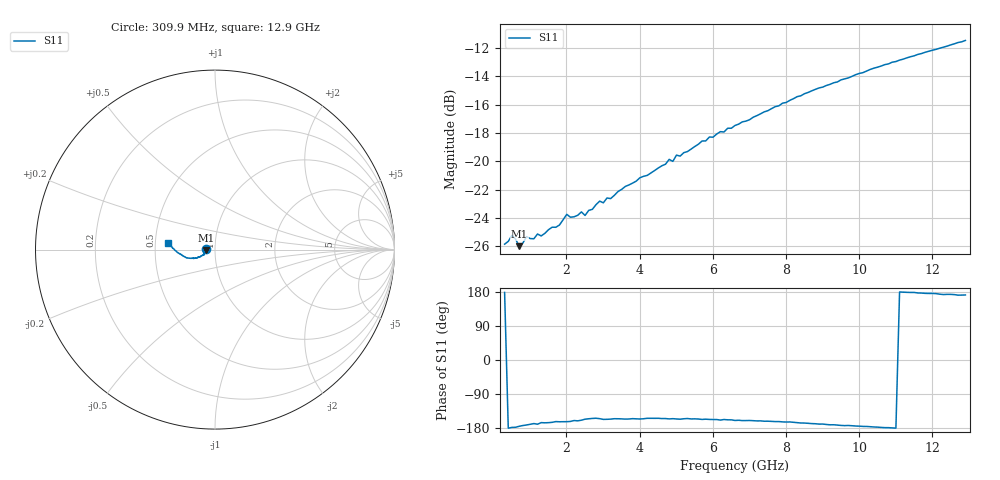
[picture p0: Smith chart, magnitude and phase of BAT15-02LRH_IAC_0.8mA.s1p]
! Infineon Technologies  Discrete & RF Semiconductors
! BAT15-02LRH
! IAC = 0.8 mA
! One-Port S-Parameters
# Hz  S  MA  R  50
!f  S11
!Hz  Mag  Ang
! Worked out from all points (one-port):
!   127 points, 309.9 MHz to 12.9 GHz, reference 50 ohm
!   lowest |S11| = -26.0 dB at 709.6 MHz (marker M1), VSWR 1.11, Z = 45.2 - j0.405 ohm
!   |S11| at or under -10 dB: start of sweep to end of sweep
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3.0985e8  0.05104 178.3
5.0975e8  0.05484 -177.9
7.0965e8  0.05021 -174.9
9.0955e8  0.05425 -171.5
1.10945e9  0.05332 -167.8
1.2094e9  0.05543 -169.5
1.30935e9  0.05457 -165.3
1.6092e9  0.05858 -164.5
1.8091e9  0.05964 -163.0
1.90905e9  0.06225 -162.8
2.009e9  0.06504 -162.7
2.2089e9  0.06376 -159.8
2.4088e9  0.06634 -158.9
2.50875e9  0.06445 -156.2
2.90855e9  0.07241 -154.8
3.0085e9  0.07143 -156.7
3.50825e9  0.07965 -155.4
4.70765e9  0.09777 -154.5
4.8076e9  0.1017 -155.4
4.90755e9  0.1 -154.8
5.0075e9  0.1052 -155.6
5.10745e9  0.1044 -156.2
5.70715e9  0.1181 -156.8
6.6067e9  0.134 -159.6
8.2059e9  0.1666 -164.4
9.8051e9  0.1997 -173.5
1.14043e10  0.2342 178.2
1.290355e10  0.2674 171.6
